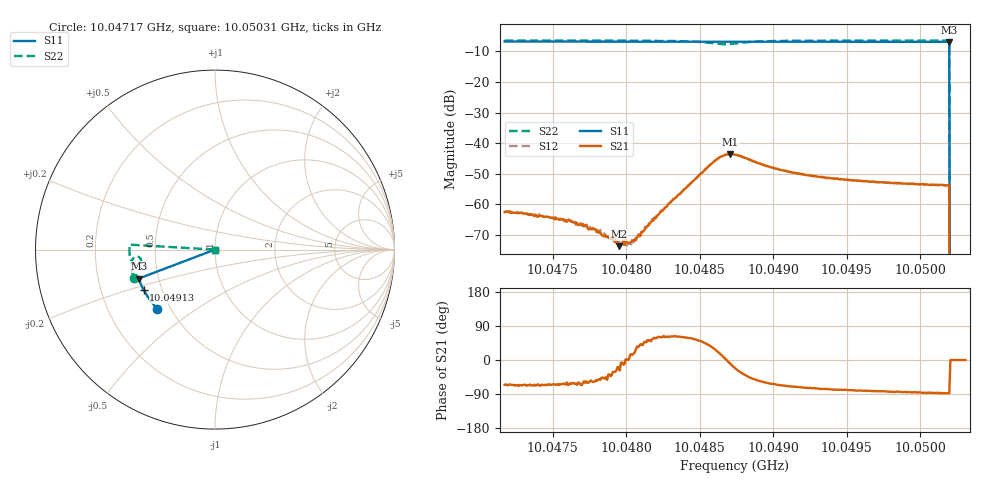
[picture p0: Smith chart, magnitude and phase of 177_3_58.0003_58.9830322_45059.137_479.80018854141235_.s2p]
#  HZ  S  RI  R  50.00
! Rohde & Schwarz Vector Network Analyzer
! Rohde-Schwarz,ZNB20-2Port,1311601062101988,3.16
! Created: UTC 3/21/2024, 12:58:11 AM
! freq[Hz]  re:S11  im:S11  re:S21  im:S21  re:S12  im:S12  re:S22  im:S22
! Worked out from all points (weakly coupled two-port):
!   401 points, 10.04717 GHz to 10.05031 GHz, reference 50 ohm
!   highest |S21| = -43.64 dB at 10.04871 GHz (marker M1); lowest = -73.8 dB at 10.04795 GHz (marker M2)
!   lowest |S11| = -6.8 dB at 10.0502 GHz (marker M3), VSWR 2.67, Z = 19.3 - j7.84 ohm
!   |S11| at or under -10 dB: 10.0502 GHz to end of sweep
!   |S22| runs from - to -6.4 dB; largest |S21 - S12| = 0.00045
!   S11 on the Smith chart (normalised r, x): 10.04717 GHz: 0.42, -0.36; 10.04913 GHz: 0.40, -0.23; 10.05031 GHz: 1.00, +0.00
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1.0047174e10  -0.3213 -0.3297  0.000308 -0.000672  0.000362 -0.000682  -0.4533 -0.1555
1.0047401e10  -0.3317 -0.3185  0.00027 -0.000558  0.000308 -0.000579  -0.4577 -0.1401
1.0047621e10  -0.3412 -0.3075  0.000251 -0.000463  0.00026 -0.00045  -0.4614 -0.1248
1.0047699e10  -0.3445 -0.3035  0.000185 -0.000419  0.000234 -0.000375  -0.4626 -0.1191
1.004784e10  -0.3504 -0.2963  0.00021 -0.00022  0.000234 -0.000228  -0.4645 -0.1088
1.0047879e10  -0.3521 -0.2942  0.000227 -0.00018  0.000208 -0.000186  -0.4649 -0.1056
1.004795e10  -0.3551 -0.2906  0.000193 -6.69e-05  0.000238 -6.48e-05  -0.4656 -0.1003
1.0047989e10  -0.3565 -0.2884  0.00021 -4.12e-05  0.000213 2.69e-05  -0.4659 -0.097
1.0048036e10  -0.3584 -0.2861  0.000234 6.42e-05  0.000207 7.16e-05  -0.4664 -0.093
1.0048083e10  -0.3603 -0.2835  0.000255 0.000171  0.000248 0.000201  -0.4667 -0.089
1.0048224e10  -0.3657 -0.276  0.000334 0.000594  0.000334 0.000617  -0.4663 -0.0761
1.0048592e10  -0.379 -0.2555  0.00412 0.00253  0.00399 0.00281  -0.4299 -0.0389
1.0048654e10  -0.3809 -0.2521  0.00601 0.00115  0.00598 0.00153  -0.414 -0.0512
1.0048709e10  -0.3828 -0.2493  0.00647 -0.00117  0.00656 -0.00078  -0.4132 -0.0707
1.0048741e10  -0.3839 -0.2477  0.00601 -0.00235  0.00621 -0.00198  -0.4197 -0.0794
1.0049132e10  -0.3971 -0.2254  0.00111 -0.00307  0.0013 -0.00303  -0.4702 -0.054
1.0049265e10  -0.4013 -0.2176  0.00078 -0.00279  0.000985 -0.00279  -0.4732 -0.0418
1.004979e10  -0.4158 -0.1862  0.000238 -0.00222  0.000387 -0.00221  -0.4769 -0.00112
1.0050182e10  -0.4251 -0.1622  8.72e-05 -0.00203  0.000195 -0.00202  -0.476 0.0264
1.0050197e10  -0.4253 -0.1613  6.8e-05 -0.00202  0.000182 -0.00201  -0.4761 0.0276
1.0050221e10  0 0  0 0  0 0  0 0
1.0050307e10  0 0  0 0  0 0  0 0
